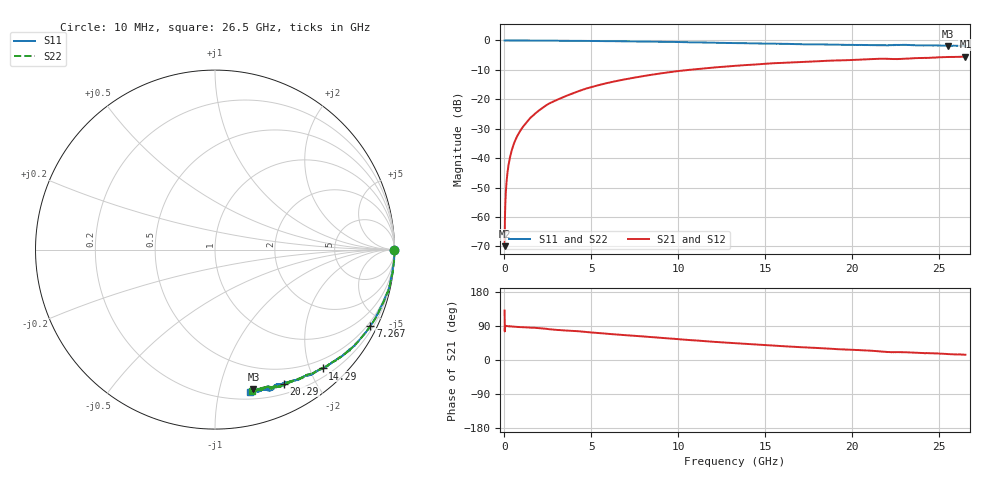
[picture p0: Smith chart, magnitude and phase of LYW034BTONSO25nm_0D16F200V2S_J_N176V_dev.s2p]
!Keysight Technologies,N5222B,MY61253708,A.15.00.15
!Date: Wednesday, June 19, 2024 10:28:05
!Correction: S11(C  2-Port  )
!S21(C  2-Port  )
!S12(C  2-Port  )
!S22(C  2-Port  )
!S2P File: Measurements: S11, S21, S12, S22:
# Hz S  RI  R 50
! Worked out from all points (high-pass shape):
!   2651 points, 10 MHz to 26.5 GHz, reference 50 ohm
!   highest |S21| = -5.46 dB at 26.5 GHz (marker M1); lowest = -69.9 dB at 10 MHz (marker M2)
!   |S21| within 3 dB of the highest: 13.63255 GHz to 13.68119 GHz (48.64 MHz wide, 0.356 % of centre); 13.69 GHz to end of sweep
!   lowest |S11| = -1.9 dB at 25.5 GHz (marker M3), VSWR 9.33, Z = 14.3 - j63.6 ohm
!   |S11| at or under -10 dB: nowhere
!   |S22| runs from -1.8 to 0.0 dB; largest |S21 - S12| = 0.0068
!   S11 on the Smith chart (normalised r, x): 10 MHz: open; 7.267 GHz: 0.35, -4.27; 14.29 GHz: 0.34, -2.21; 20.29 GHz: 0.32, -1.59; 26.5 GHz: 0.26, -1.24
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1e7  0.9982 -0.00314  -0.000208 0.000243  0.000184 0.000263  0.9984 -0.0016
6.997736e7  1 -0.00506  -9.08e-06 0.0023  1.72e-05 0.00227  0.9997 -0.00475
1.599434e8  1 -0.0111  5.44e-05 0.00518  3.42e-05 0.00518  0.9997 -0.0105
1.999283e8  1 -0.0133  8.39e-05 0.00647  9.33e-05 0.00647  0.9997 -0.0126
2.599057e8  0.9997 -0.0173  0.000146 0.00845  0.000145 0.00847  0.9996 -0.0165
3.598679e8  0.9996 -0.0241  0.000294 0.0116  0.000277 0.0117  0.9994 -0.0234
4.898189e8  0.9986 -0.0325  0.000522 0.0158  0.000505 0.0159  0.9987 -0.0313
6.497585e8  0.9986 -0.0422  0.000902 0.0209  0.000862 0.021  0.9986 -0.0413
8.49683e8  0.998 -0.0551  0.00146 0.0273  0.00147 0.0274  0.9979 -0.055
1.459453e9  0.9911 -0.0961  0.00344 0.0472  0.00344 0.0472  0.9935 -0.0925
2.349117e9  0.9825 -0.1502  0.0097 0.0767  0.00984 0.0769  0.9838 -0.1502
3.238781e9  0.9716 -0.2059  0.0205 0.1026  0.0206 0.1029  0.9727 -0.2048
4.428332e9  0.945 -0.2757  0.0367 0.1386  0.0369 0.139  0.9467 -0.2731
7.26726e9  0.8654 -0.4253  0.0982 0.2056  0.0989 0.2057  0.8672 -0.4238
8.846664e9  0.8103 -0.4961  0.14 0.2333  0.1409 0.2334  0.8117 -0.4948
1.3255e10  0.6386 -0.6379  0.2647 0.2595  0.2662 0.2589  0.6417 -0.6371
1.429461e10  0.599 -0.6624  0.2919 0.2571  0.2928 0.256  0.602 -0.6585
1.767333e10  0.469 -0.7206  0.3703 0.2345  0.3728 0.2328  0.4783 -0.7183
2.029234e10  0.3842 -0.7465  0.421 0.2084  0.4233 0.2061  0.3979 -0.7478
2.209166e10  0.3341 -0.757  0.4539 0.1747  0.4549 0.172  0.3267 -0.763
2.550038e10  0.2142 -0.7774  0.504 0.1394  0.5048 0.1394  0.2339 -0.7795
2.65e10  0.1949 -0.792  0.5177 0.1286  0.5163 0.1249  0.2073 -0.7898
